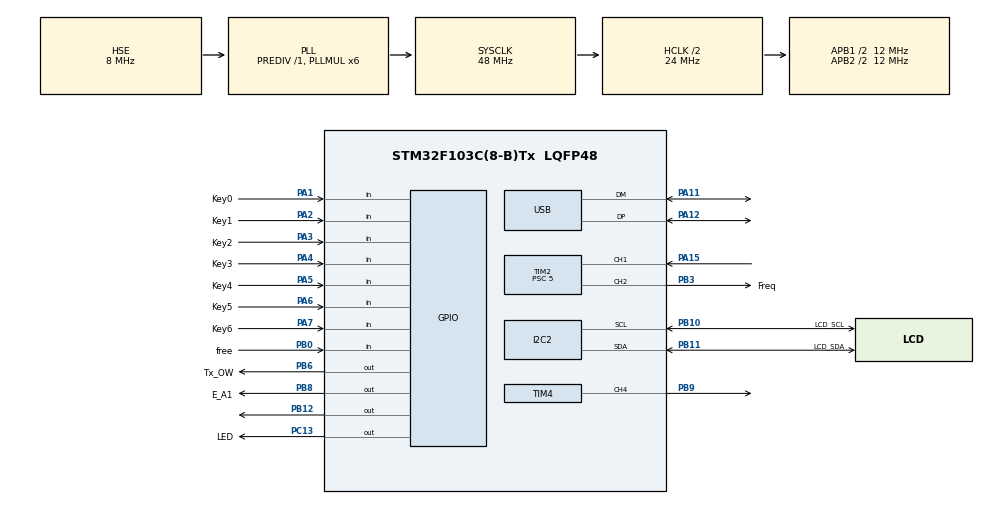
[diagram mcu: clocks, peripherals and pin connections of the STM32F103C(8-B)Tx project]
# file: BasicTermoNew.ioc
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Mcu.Family=STM32F1
Mcu.Name=STM32F103C(8-B)Tx
Mcu.Package=LQFP48
NVIC.PriorityGroup=NVIC_PRIORITYGROUP_4
NVIC.USB_LP_CAN1_RX0_IRQn=true\:0\:0\:false\:false\:true\:true\:true
PA1.GPIO_Label=Key0
PA1.GPIO_PuPd=GPIO_PULLUP
PA1.Signal=GPIO_Input
PA11.Mode=Device
PA11.Signal=USB_DM
PA12.Mode=Device
PA12.Signal=USB_DP
PA13.Mode=Serial_Wire
PA13.Signal=SYS_JTMS-SWDIO
PA14.Mode=Serial_Wire
PA14.Signal=SYS_JTCK-SWCLK
PA15.Signal=S_TIM2_CH1_ETR
PA2.GPIO_Label=Key1
PA2.GPIO_PuPd=GPIO_PULLUP
PA2.Signal=GPIO_Input
PA3.GPIO_Label=Key2
PA3.GPIO_PuPd=GPIO_PULLUP
PA3.Signal=GPIO_Input
PA4.GPIO_Label=Key3
PA4.GPIO_PuPd=GPIO_PULLUP
PA4.Signal=GPIO_Input
PA5.GPIO_Label=Key4
PA5.GPIO_PuPd=GPIO_PULLUP
PA5.Signal=GPIO_Input
PA6.GPIO_Label=Key5
PA6.GPIO_PuPd=GPIO_PULLUP
PA6.Signal=GPIO_Input
PA7.GPIO_Label=Key6
PA7.GPIO_PuPd=GPIO_PULLUP
PA7.Signal=GPIO_Input
PB0.GPIO_Label=free
PB0.GPIO_PuPd=GPIO_PULLUP
PB0.Signal=GPIO_Input
PB10.GPIO_Label=LCD_SCL
PB10.Mode=I2C
PB10.Signal=I2C2_SCL
PB11.GPIO_Label=LCD_SDA
PB11.Mode=I2C
PB11.Signal=I2C2_SDA
PB12.Signal=GPIO_Output
PB3.GPIO_Label=Freq
PB3.GPIO_Speed=GPIO_SPEED_FREQ_HIGH
PB3.Signal=S_TIM2_CH2
PB6.GPIO_Label=Tx_OW
PB6.GPIO_ModeDefaultOutputPP=GPIO_MODE_OUTPUT_OD
PB6.GPIO_PuPd=GPIO_PULLUP
PB6.GPIO_Speed=GPIO_SPEED_FREQ_LOW
PB6.PinState=GPIO_PIN_SET
PB6.Signal=GPIO_Output
PB8.GPIO_Label=E_A1
PB8.Signal=GPIO_Output
PB9.Signal=S_TIM4_CH4
PC13-TAMPER-RTC.GPIO_Label=LED
PC13-TAMPER-RTC.PinState=GPIO_PIN_SET
PC13-TAMPER-RTC.Signal=GPIO_Output
PC14-OSC32_IN.Mode=LSE-External-Oscillator
PC14-OSC32_IN.Signal=RCC_OSC32_IN
PC15-OSC32_OUT.Mode=LSE-External-Oscillator
PC15-OSC32_OUT.Signal=RCC_OSC32_OUT
PD0-OSC_IN.Mode=HSE-External-Oscillator
PD0-OSC_IN.Signal=RCC_OSC_IN
PD1-OSC_OUT.Mode=HSE-External-Oscillator
PD1-OSC_OUT.Signal=RCC_OSC_OUT
ProjectManager.HeapSize=0x200
ProjectManager.StackSize=0x400
ProjectManager.TargetToolchain=EWARM V7
RCC.AHBCLKDivider=RCC_SYSCLK_DIV2
RCC.AHBFreq_Value=24000000
RCC.APB1CLKDivider=RCC_HCLK_DIV2
RCC.APB1Freq_Value=12000000
RCC.APB1TimFreq_Value=24000000
RCC.APB2CLKDivider=RCC_HCLK_DIV2
RCC.APB2Freq_Value=12000000
RCC.APB2TimFreq_Value=24000000
RCC.HCLKFreq_Value=24000000
RCC.PLLMUL=RCC_PLL_MUL6
RCC.SYSCLKFreq_VALUE=48000000
RCC.SYSCLKSource=RCC_SYSCLKSOURCE_PLLCLK
RCC.USBFreq_Value=48000000
SH.S_TIM2_CH1_ETR.0=TIM2_CH1,TriggerSource_TI1FP1
SH.S_TIM2_CH2.0=TIM2_CH2,PWM Generation2 CH2
SH.S_TIM4_CH4.0=TIM4_CH4,PWM Generation4 CH4
TIM2.AutoReloadPreload=TIM_AUTORELOAD_PRELOAD_ENABLE
TIM2.Channel-PWM\ Generation2\ CH2=TIM_CHANNEL_2
TIM2.Period=100
TIM2.Prescaler=5
TIM2.Pulse-PWM\ Generation2\ CH2=50
TIM2.Slave_TriggerPolarity=TIM_TRIGGERPOLARITY_FALLING
TIM4.Channel-PWM\ Generation4\ CH4=TIM_CHANNEL_4
USB_DEVICE.CLASS_NAME_FS=CDC
USB_DEVICE.VirtualMode=Cdc
USB_DEVICE.VirtualModeFS=Cdc_FS
VP_TIM2_VS_ClockSourceINT.Mode=Internal
VP_TIM2_VS_ControllerModeGated.Mode=Gated Mode
VP_USB_DEVICE_VS_USB_DEVICE_CDC_FS.Mode=CDC_FS
board=Basic103

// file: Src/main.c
/* USER CODE BEGIN Header */
/**
  ******************************************************************************
  * @file           : main.c
  * @brief          : Main program body
  ******************************************************************************
  * @attention
  *
  * <h2><center>&copy; Copyright (c) 2019 STMicroelectronics.
  * All rights reserved.</center></h2>
  *
  * This software component is licensed by ST under Ultimate Liberty license
  * SLA0044, the "License"; You may not use this file except in compliance with
  * the License. You may obtain a copy of the License at:
  *                             www.st.com/SLA0044
  *
  ******************************************************************************
  */
/* USER CODE END Header */

#include "main.h"
#include "i2c.h"
#include "tim.h"
#include "usb_device.h"
#include "gpio.h"

/* USER CODE BEGIN Includes */
// тест ПРОГРАММА для проверки возможностей по приему, передаче посылок в линии системы 1083
#include "ssd1306.h"
#include "usbd_cdc_if.h"
#include "stdio.h"
#include "ds18b20.h"

#define OW_0    0x00
#define OW_1    0xff
#define OW_R    0xff

/* USER CODE END Includes */

/* USER CODE BEGIN PV */
/* Private variables ---------------------------------------------------------*/
const uint8_t convert_T[] = {
                OW_0, OW_0, OW_1, OW_1, OW_0, OW_0, OW_1, OW_1, // 0xcc SKIP ROM
                OW_0, OW_0, OW_1, OW_0, OW_0, OW_0, OW_1, OW_0  // 0x44 CONVERT
//                OW_1, OW_1, OW_0, OW_0, OW_1, OW_1, OW_0, OW_0, // 0xcc SKIP ROM
//                OW_0, OW_1, OW_0, OW_0, OW_0, OW_1, OW_0, OW_0  // 0x44 CONVERT
};
const uint8_t read_scratch[] = {
                OW_0, OW_0, OW_1, OW_1, OW_0, OW_0, OW_1, OW_1, // 0xcc SKIP ROM
                OW_0, OW_1, OW_1, OW_1, OW_1, OW_1, OW_0, OW_1, // 0xbe READ SCRATCH
                OW_R, OW_R, OW_R, OW_R, OW_R, OW_R, OW_R, OW_R,
                OW_R, OW_R, OW_R, OW_R, OW_R, OW_R, OW_R, OW_R
};
const uint8_t read_ROM[] = {
                OW_1, OW_1, OW_0, OW_0, OW_1, OW_1, OW_0, OW_0, // 0x33 get ROM
                OW_R, OW_R, OW_R, OW_R, OW_R, OW_R, OW_R, OW_R,
                OW_R, OW_R, OW_R, OW_R, OW_R, OW_R, OW_R, OW_R,
                OW_R, OW_R, OW_R, OW_R, OW_R, OW_R, OW_R, OW_R,
                OW_R, OW_R, OW_R, OW_R, OW_R, OW_R, OW_R, OW_R,
                OW_R, OW_R, OW_R, OW_R, OW_R, OW_R, OW_R, OW_R,
                OW_R, OW_R, OW_R, OW_R, OW_R, OW_R, OW_R, OW_R,
                OW_R, OW_R, OW_R, OW_R, OW_R, OW_R, OW_R, OW_R,
                OW_R, OW_R, OW_R, OW_R, OW_R, OW_R, OW_R, OW_R
};

uint8_t Str[30]; // строка для вывода
uint8_t StartKeys; // состояние переключателей при старте
uint8_t RxBufCmd[256]; // буффер принятой команды
uint8_t TxBufAns[256]; // буффер передачи в USB
uint8_t TxBufReq[256]; // буффер передачи в UART
uint8_t RxBufAns[256]; // буффер что приняли в ответ
uint16_t CountCmd; // длина принятой команды и признак необходимости обработки
uint32_t Dummy;
uint32_t g_EnaTemp = 0;
// new cmd
uint8_t Dev_ID[8][8]={0};
uint8_t Dev_Cnt;

/* USER CODE END PV */

void SystemClock_Config(void);
/* USER CODE BEGIN PFP */
/* Private function prototypes -----------------------------------------------*/
// проверка что приняли по VCP
void CheckRxVCP (uint16_t Size);
//получение состояния переключателей выбора номера абонента
uint8_t GetKeyStat (uint8_t Num);
// цикл измерения температуры
float GetTemp(void);
// поиск приборов по новому
void SrDev (void);
/* USER CODE END PFP */

int main(void)
{
  /* USER CODE BEGIN 1 */
  SSD1306_I2C_ADDR = 0x78;
	uint8_t dt[8];
	volatile static uint16_t raw_temper;
	float temper;
    volatile uint8_t CntVrm=0;

  /* USER CODE END 1 */

  /* MCU Configuration--------------------------------------------------------*/

  /* Reset of all peripherals, Initializes the Flash interface and the Systick. */
  HAL_Init();

  /* Configure the system clock */
  SystemClock_Config();

  /* Initialize all configured peripherals */
  MX_GPIO_Init();
  MX_USB_DEVICE_Init();
  MX_TIM4_Init();
  MX_TIM2_Init();
  MX_I2C2_Init();
  /* USER CODE BEGIN 2 */
  HAL_TIM_PWM_Start (&htim2, TIM_CHANNEL_2 ); // вроде как надо запустить таймеры
  // init oled
  uint8_t res = SSD1306_Init();
  sprintf((char*)Str,"HELLO! ver 5.0") ;
  //1.0 - принимает команды из линии и детектирует их, выводит построчно на экран
  SSD1306_GotoXY(0,53);
  SSD1306_Puts((void*)Str, &Font_7x10, 1);
  SSD1306_UpdateScreen();
 // получим состояние датчиков
  //port_init();
  HAL_Delay(300);
  ds18b20_init(1);
  sprintf((char*)Str,"%d",Dev_Cnt) ;
  SSD1306_GotoXY(110,53);
  SSD1306_Puts((void*)Str, &Font_7x10, 1);
  	for(int i=0;i<Dev_Cnt;i++)
	{
		sprintf((char*)Str,"%02X%02X%02X%02X%02X%02X%02X%02X",
			Dev_ID[i][0], Dev_ID[i][1], Dev_ID[i][2], Dev_ID[i][3],
			Dev_ID[i][4], Dev_ID[i][5], Dev_ID[i][6], Dev_ID[i][7]);
  SSD1306_GotoXY(0,37+i*8);
  SSD1306_Puts((void*)Str, &Font_7x10, 1);
	}

  SSD1306_UpdateScreen();

  // пустое чтение для инициализации приемеов!
  //Dummy = huart1.Instance->DR ;

  /* USER CODE END 2 */

  /* Infinite loop */
  /* USER CODE BEGIN WHILE */
  while (1)
  {
    if(CountCmd) // есть команда надо обработать передать в линию
    {
      CheckRxVCP (CountCmd);
      CountCmd = 0;
    }
    for(int i=0;i<Dev_Cnt;i++)
    {
      ds18b20_MeasureTemperCmd(NO_SKIP_ROM, i);
    }
    HAL_Delay(800);
    for(int i=0;i<Dev_Cnt;i++)
    {
      ds18b20_ReadStratcpad(NO_SKIP_ROM, dt, i);
      raw_temper = ((uint16_t)dt[1]<<8)|dt[0];
      //if(ds18b20_GetSign(raw_temper)) c='-';
      //else c='+';
      temper = ds18b20_Convert(raw_temper);
      sprintf((char*)Str,"             ") ;
      SSD1306_GotoXY(0,18*i);
      SSD1306_Puts((void*)Str, &Font_11x18, 1);
      sprintf((char*)Str,"%c=%.1f",(i)?('I'):('0'), temper) ;
      //sprintf((char*)Str,"%c=%c%.1f",(i)?('I'):('0'),c, temper) ;
      // Выводим что приняли
      SSD1306_GotoXY(0,18*i);
      SSD1306_Puts((void*)Str, &Font_11x18, 1);
    }
  sprintf((char*)Str,"%d",CntVrm) ;
  SSD1306_GotoXY(100,0);
  SSD1306_Puts((void*)Str, &Font_7x10, 1);

    SSD1306_UpdateScreen();
    HAL_Delay(150);
    /* USER CODE END WHILE */

    /* USER CODE BEGIN 3 */
  // счетчик времени для перезапуска прибора
      HAL_GPIO_WritePin(LED_GPIO_Port, LED_Pin, GPIO_PIN_SET);

  if(CntVrm++ == 0)
  {
    HAL_GPIO_WritePin(LED_GPIO_Port, LED_Pin, GPIO_PIN_RESET);
    SrDev();
  }

  }
  /* USER CODE END 3 */
}

void SystemClock_Config(void)
{
  RCC_OscInitTypeDef RCC_OscInitStruct = {0};
  RCC_ClkInitTypeDef RCC_ClkInitStruct = {0};
  RCC_PeriphCLKInitTypeDef PeriphClkInit = {0};

  /** Initializes the CPU, AHB and APB busses clocks
  */
  RCC_OscInitStruct.OscillatorType = RCC_OSCILLATORTYPE_HSE;
  RCC_OscInitStruct.HSEState = RCC_HSE_ON;
  RCC_OscInitStruct.HSEPredivValue = RCC_HSE_PREDIV_DIV1;
  RCC_OscInitStruct.HSIState = RCC_HSI_ON;
  RCC_OscInitStruct.PLL.PLLState = RCC_PLL_ON;
  RCC_OscInitStruct.PLL.PLLSource = RCC_PLLSOURCE_HSE;
  RCC_OscInitStruct.PLL.PLLMUL = RCC_PLL_MUL6;
  if (HAL_RCC_OscConfig(&RCC_OscInitStruct) != HAL_OK)
  {
    Error_Handler();
  }
  /** Initializes the CPU, AHB and APB busses clocks
  */
  RCC_ClkInitStruct.ClockType = RCC_CLOCKTYPE_HCLK|RCC_CLOCKTYPE_SYSCLK
                              |RCC_CLOCKTYPE_PCLK1|RCC_CLOCKTYPE_PCLK2;
  RCC_ClkInitStruct.SYSCLKSource = RCC_SYSCLKSOURCE_PLLCLK;
  RCC_ClkInitStruct.AHBCLKDivider = RCC_SYSCLK_DIV2;
  RCC_ClkInitStruct.APB1CLKDivider = RCC_HCLK_DIV2;
  RCC_ClkInitStruct.APB2CLKDivider = RCC_HCLK_DIV2;

  if (HAL_RCC_ClockConfig(&RCC_ClkInitStruct, FLASH_LATENCY_1) != HAL_OK)
  {
    Error_Handler();
  }
  PeriphClkInit.PeriphClockSelection = RCC_PERIPHCLK_USB;
  PeriphClkInit.UsbClockSelection = RCC_USBCLKSOURCE_PLL;
  if (HAL_RCCEx_PeriphCLKConfig(&PeriphClkInit) != HAL_OK)
  {
    Error_Handler();
  }
}

/* USER CODE BEGIN 4 */
// цикл измерения температуры
float GetTemp(void)
{
  uint32_t SzTx, Data;
  int16_t Temp;
  HAL_StatusTypeDef StatRx, StatTx;
    // set Baudrate 9600, send 0xF0, RESET
//    huart1.Instance->BRR = 0x4E8;
//    TxBufReq[0] = 0xF0;
//    StatRx = HAL_UART_Receive_DMA(&huart1, RxBufAns, 1);
//  // пока бросаем в UART
//    StatTx = HAL_UART_Transmit_DMA(&huart1, TxBufReq, 1);
    HAL_Delay(40);
    if(RxBufAns[0] == 0xE0)
    {
      RxBufAns[0]= 0;
      //Dummy = huart1.Instance->DR ;
     // huart1.RxState = HAL_UART_STATE_READY;
    }
     else return -273.0;
  // запуск измерений, 115200
//    huart1.Instance->BRR = 0x68;
//    StatRx = HAL_UART_Receive_DMA(&huart1, RxBufAns, 16);
//  // пока бросаем в UART
//    StatTx = HAL_UART_Transmit_DMA(&huart1, (void*)convert_T, 16);// 16 byte
    HAL_Delay(200);
    //huart1.RxState = HAL_UART_STATE_READY;
    HAL_Delay(1000);
    // set Baudrate 9600, send 0xF0, RESET
//    huart1.Instance->BRR = 0x4E8;
//    TxBufReq[0] = 0xF0;
//    StatRx = HAL_UART_Receive_DMA(&huart1, RxBufAns, 1);
//  // пока бросаем в UART
//    StatTx = HAL_UART_Transmit_DMA(&huart1, TxBufReq, 1);
    HAL_Delay(40);
    if(RxBufAns[0] == 0xE0)
    {
      RxBufAns[0]= 0;
     // huart1.RxState = HAL_UART_STATE_READY;
    }
     else return -273.0;
    //получаем температуру
    // set Baudrate 115200, send 0xF0,
//    huart1.Instance->BRR = 0x68;
//    //TxBufReq[0] = 0xF0;
//    StatRx = HAL_UART_Receive_DMA(&huart1, RxBufAns, 32);
//  // пока бросаем в UART
//    StatTx = HAL_UART_Transmit_DMA(&huart1, (void*)read_scratch, 32);// read 32 bytes
    HAL_Delay(200);
    // попробуем разобрать что приняли
    //huart1.RxState = HAL_UART_STATE_READY;
    Data=0;
    for(int i=31; i>15;--i)
    {
      if(RxBufAns[i]==0xff) Data +=1;
      Data = Data<<1;
    }
    Data = Data>>1;
    Temp = (int16_t)(Data);
    return (Temp/8)*0.5  ;

}
// поиск приборов по новому
void SrDev (void)
{
  Dev_Cnt = 0;
  HAL_Delay(300);
  ds18b20_init(1);
  sprintf((char*)Str,"%d",Dev_Cnt) ;
  SSD1306_GotoXY(110,53);
  SSD1306_Puts((void*)Str, &Font_7x10, 1);
  for(int i=0;i<Dev_Cnt;i++)
  {
    sprintf((char*)Str,"%02X%02X%02X%02X%02X%02X%02X%02X",
			Dev_ID[i][0], Dev_ID[i][1], Dev_ID[i][2], Dev_ID[i][3],
			Dev_ID[i][4], Dev_ID[i][5], Dev_ID[i][6], Dev_ID[i][7]);
    SSD1306_GotoXY(0,37+i*8);
    SSD1306_Puts((void*)Str, &Font_7x10, 1);
  }
}

void CheckRxVCP (uint16_t Size)
{
  uint32_t SzTx, Data;
  int16_t Temp;
  volatile static uint64_t DataL;
  static uint32_t Dt[4];
  HAL_StatusTypeDef StatRx, StatTx;
  //uint32_t Dummy;
  // разбираем команду принятую по USB
  if (!memcmp ((void*)&RxBufCmd[0], "RST",3))
  {
    // set Baudrate 9600, send 0xF0,
//    huart1.Instance->BRR = 0x4E8;
//    TxBufReq[0] = 0xF0;
//    StatRx = HAL_UART_Receive_DMA(&huart1, RxBufAns, 1);
//  // пока бросаем в UART
//    StatTx = HAL_UART_Transmit_DMA(&huart1, TxBufReq, 1);
    HAL_Delay(40);
    if(RxBufAns[0] == 0xE0)
    SzTx = sprintf((char*)TxBufAns,"Ok") ;
    else
    SzTx = sprintf((char*)TxBufAns,"Err") ;
    RxBufAns[0]= 0;
    //Dummy = huart1.Instance->DR ;
    //huart1.RxState = HAL_UART_STATE_READY;
    //отсылаем назад, пока
  CDC_Transmit_FS (TxBufAns, SzTx);

  }

  if (!memcmp ((void*)&RxBufCmd[0], "STR",3))
  {
    // set Baudrate 115200, send 0xF0,
//    huart1.Instance->BRR = 0x68;
//    StatRx = HAL_UART_Receive_DMA(&huart1, RxBufAns, 16);
//  // пока бросаем в UART
//    StatTx = HAL_UART_Transmit_DMA(&huart1, (void*)convert_T, 16);
    HAL_Delay(200);
    SzTx = sprintf((char*)TxBufAns,"Rx=%d Tx=%d", StatRx, StatTx) ;
    //отсылаем назад, пока
    CDC_Transmit_FS (RxBufAns, 16);
  }
  // запрос ROM
    if (!memcmp ((void*)&RxBufCmd[0], "ROM",3))
  {
    // set Baudrate 9600, send 0xF0,
//    huart1.Instance->BRR = 0x68;
//    StatRx = HAL_UART_Receive_DMA(&huart1, RxBufAns, 72);
//  // пока бросаем в UART
//    StatTx = HAL_UART_Transmit_DMA(&huart1, (void*)read_ROM, 72); //0x33 Get ROM
    HAL_Delay(200);
    SzTx = sprintf((char*)TxBufAns,"Rx=%d Tx=%d", StatRx, StatTx) ;
        // попробуем разобрать что приняли
    DataL=0;
    for(int i=71; i>7;--i)
    {
      DataL = DataL<<1;
      if(RxBufAns[i]==0xff) DataL +=1;
    }
    Dt[0]=(uint32_t)((DataL>>8L)&0xFFFFFFFFL); // lbs
    Dt[1]=(uint32_t)((DataL>>40L)&0xFFFFL);    //mbs
    Dt[2]=(uint32_t)((DataL>>56L)&0xFFL);
    Dt[3]=(uint32_t)((DataL)&0xFFL);

    //SzTx = sprintf((char*)TxBufAns,"SN=%04X%08X CRC=%02X Cd=%02X", (uint64_t)((DataL&0x00FFFFFFFFFFFF00L)>>8L), (uint64_t)((DataL&0xFF00000000000000L)>>56L), (uint64_t)(DataL&0xFFL)) ;
    SzTx = sprintf((char*)TxBufAns,"SN=%04X%08X CRC=%02X Cd=%02X", Dt[1],Dt[0],Dt[2],Dt[3]) ;
    //отсылаем назад, пока
  CDC_Transmit_FS (TxBufAns, SzTx);
  }
// разрешение и запрещение измерений
    if (!memcmp ((void*)&RxBufCmd[0], "ENA",3))
  {
    g_EnaTemp = 1;
    SzTx = sprintf((char*)TxBufAns,"TempENA") ;
    //отсылаем назад, пока
    CDC_Transmit_FS (TxBufAns, SzTx );
  }
    // запрос ROM
    if (!memcmp ((void*)&RxBufCmd[0], "DIS",3))
  {
    g_EnaTemp = 0;
    SzTx = sprintf((char*)TxBufAns,"TempDIS") ;
    //отсылаем назад, пока
    CDC_Transmit_FS (TxBufAns, SzTx );
  }

  if (!memcmp ((void*)&RxBufCmd[0], "GET",3))
  {
    // set Baudrate 115200, send 0xF0,
//    huart1.Instance->BRR = 0x68;
//    //TxBufReq[0] = 0xF0;
//    StatRx = HAL_UART_Receive_DMA(&huart1, RxBufAns, 32);
//  // пока бросаем в UART
//    StatTx = HAL_UART_Transmit_DMA(&huart1, (void*)read_scratch, 32);
    HAL_Delay(200);
    // попробуем разобрать что приняли
    Data=0;
    for(int i=31; i>15;--i)
    {
      if(RxBufAns[i]==0xff) Data +=1;
      Data = Data<<1;
    }
    Data = Data>>1;
    Temp = (int16_t)(Data);
    SzTx = sprintf((char*)TxBufAns,"Dt=%04X %.1f", Data, (Temp/8)*0.5 ) ;
    //отсылаем назад, пока
    CDC_Transmit_FS (RxBufAns, 32);
  }

   //huart1.RxState = HAL_UART_STATE_READY;

  // чистим строчку вывода
  sprintf((char*)Str,"                   ") ;
	SSD1306_GotoXY(0,53);
	SSD1306_Puts((void*)Str, &Font_7x10, 1);
  memcpy(Str, RxBufCmd, Size);
  Str[Size]=0;
  sprintf((char*)Str,"%s=%s",Str, TxBufAns) ;
  // Выводим что приняли
  SSD1306_GotoXY(0,53);
  SSD1306_Puts((void*)Str, &Font_7x10, 1);
  SSD1306_UpdateScreen();

}
//получение состояния переключателей выбора номера абонента
uint8_t GetKeyStat (uint8_t Num)
{
  uint32_t Keys;
  switch(Num)
  {
  case 0: // номер абонента
    Keys = (((GPIOA->IDR>>1)&0x7F)^0x7F);
    break;
  case 1: // Code signal "free"
    Keys = (((GPIOB->IDR)&0x01)^0x01);
    break;
  default:// состояние ключей 1..8
    Keys = (((GPIOB->IDR)&0x01)^0x01)*128 + (((GPIOA->IDR>>1)&0x7F)^0x7F);
    break;
  }
  return   (uint8_t)(Keys);

}
/* USER CODE END 4 */

void Error_Handler(void)
{
  while(1)
  {
  }
}

/************************ (C) COPYRIGHT STMicroelectronics *****END OF FILE****/
